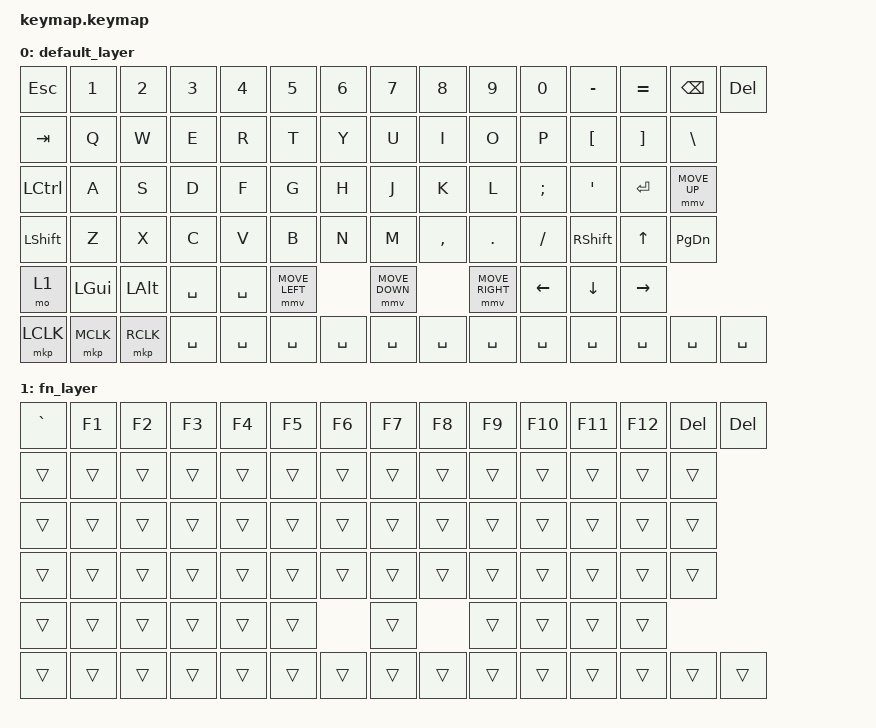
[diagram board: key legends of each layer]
/*
 * kod_01 キーマップ
 * HHKB風60%配列 + 6列目マウス機能
 */

#include <behaviors.dtsi>
#include <dt-bindings/zmk/keys.h>
#include <dt-bindings/zmk/mouse.h>

/ {
    keymap {
        compatible = "zmk,keymap";
        
        // デフォルトレイヤー (0層)
        default_layer {
            bindings = <
                // 1行目: ESC, 1-0, Backspace, | (パイプ), Delete
                &kp ESC    &kp N1   &kp N2   &kp N3   &kp N4   &kp N5   &kp N6   &kp N7   &kp N8   &kp N9   &kp N0   &kp MINUS &kp EQUAL &kp BSPC  &kp DEL
                
                // 2行目: Tab, QWERTY, [ ] \
                &kp TAB    &kp Q    &kp W    &kp E    &kp R    &kp T    &kp Y    &kp U    &kp I    &kp O    &kp P    &kp LBKT  &kp RBKT  &kp BSLH
                
                // 3行目: Ctrl, ASDF..., ; ' Enter
                &kp LCTRL  &kp A    &kp S    &kp D    &kp F    &kp G    &kp H    &kp J    &kp K    &kp L    &kp SEMI &kp SQT   &kp RET   &mmv MOVE_UP
                
                // 4行目: Shift, ZXCV..., Shift
                &kp LSHFT  &kp Z    &kp X    &kp C    &kp V    &kp B    &kp N    &kp M    &kp COMMA &kp DOT &kp FSLH &kp RSHFT &kp UP    &kp PG_DN
                
                // 5行目: スペースバー周り + カーソル移動左下右
                &mo 1      &kp LGUI &kp LALT &kp SPACE &kp SPACE &mmv MOVE_LEFT &mmv MOVE_DOWN &mmv MOVE_RIGHT &kp LEFT  &kp DOWN  &kp RIGHT
                
                // 6行目: マウス機能 (左・中・右クリック) + その他
                &mkp LCLK  &mkp MCLK &mkp RCLK &kp SPACE &kp SPACE &kp SPACE &kp SPACE &kp SPACE &kp SPACE &kp SPACE &kp SPACE &kp SPACE &kp SPACE &kp SPACE &kp SPACE
            >;
        };
        
        // レイヤー1 (Fn層): チルダ + F1-F12
        fn_layer {
            bindings = <
                // 1行目: ~, F1-F12, Delete
                &kp GRAVE  &kp F1   &kp F2   &kp F3   &kp F4   &kp F5   &kp F6   &kp F7   &kp F8   &kp F9   &kp F10  &kp F11   &kp F12   &kp DEL   &kp DEL
                
                // 2行目以降: 透過設定（元のキーが動作）
                &trans     &trans   &trans   &trans   &trans   &trans   &trans   &trans   &trans   &trans   &trans   &trans    &trans    &trans
                &trans     &trans   &trans   &trans   &trans   &trans   &trans   &trans   &trans   &trans   &trans   &trans    &trans    &trans
                &trans     &trans   &trans   &trans   &trans   &trans   &trans   &trans   &trans   &trans   &trans   &trans    &trans    &trans
                &trans     &trans   &trans   &trans   &trans   &trans   &trans   &trans   &trans   &trans   &trans
                &trans     &trans   &trans   &trans   &trans   &trans   &trans   &trans   &trans   &trans   &trans   &trans    &trans    &trans    &trans
            >;
        };
    };
};
